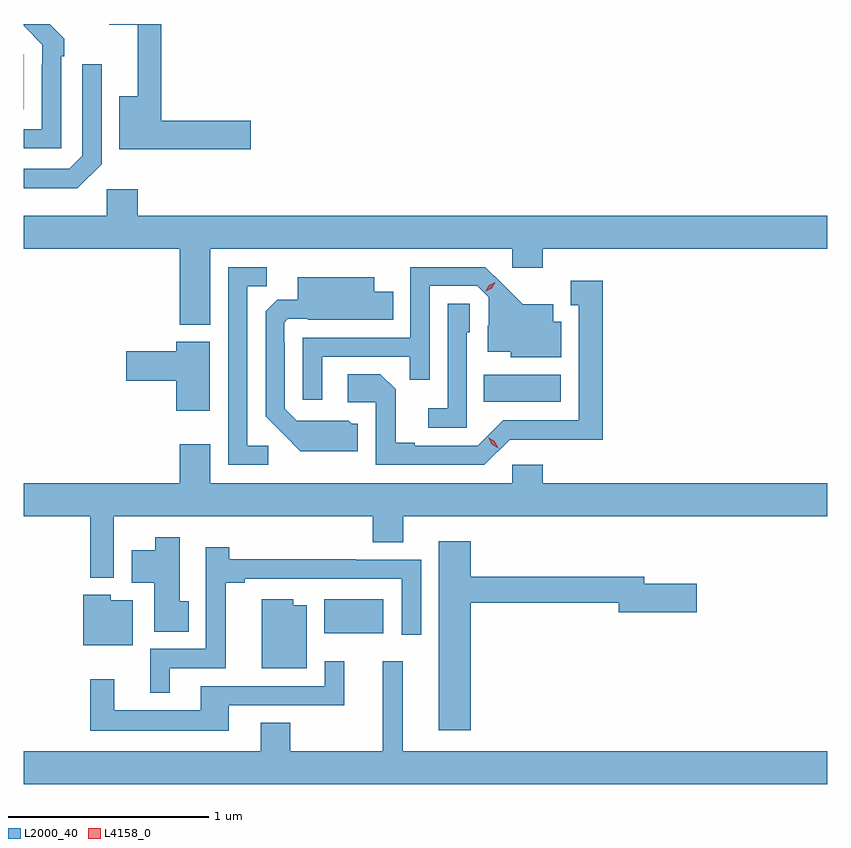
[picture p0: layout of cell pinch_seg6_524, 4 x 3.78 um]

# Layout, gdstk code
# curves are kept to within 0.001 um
import gdstk
lib = gdstk.Library(unit=1e-6, precision=1e-09)
def R(c, l, rs):  # rectangles x0, y0, x1, y1
    for r in rs: c.add(gdstk.rectangle(r[:2], r[2:], *l))
def P(c, l, *ps):  # polygons
    for p in ps: c.add(gdstk.Polygon(p, *l))
L2000_40 = (2000, 40)
L4158_0 = (4158, 0)

pinch_seg6_524 = lib.new_cell('pinch_seg6_524')
R(pinch_seg6_524, L2000_40, [(782.372,949.418,782.665,949.588), (783.166,950.57,783.547,950.704), (780.875,952.025,780.877,952.3)])
P(pinch_seg6_524, L2000_40, [(782.005,951.968),(781.559,951.968),(781.559,952.45),(781.302,952.45),(781.302,952.446),(781.442,952.446),(781.442,952.09),(781.352,952.09),(781.352,951.826),(782.005,951.826)],
  [(781.062,952.289),(781.077,952.289),(781.077,952.377),(781.004,952.45),(780.875,952.45),(780.875,952.442),(780.969,952.347),(780.969,952.247),(780.966,952.247),(780.966,951.927),(780.875,951.927),(780.875,951.831),(781.062,951.831)],
  [(781.263,951.753),(781.263,952.249),(781.167,952.249),(781.167,951.795),(781.101,951.729),(780.875,951.729),(780.875,951.632),(781.142,951.632)],
  [(781.804,951.332),(783.306,951.332),(783.306,951.237),(783.458,951.237),(783.458,951.332),(784.875,951.332),(784.875,951.496),(781.442,951.496),(781.442,951.628),(781.29,951.628),(781.29,951.496),(780.875,951.496),(780.875,951.332),(781.652,951.332),(781.652,950.954),(781.804,950.954)],
  [(782.092,950.352),(781.989,950.352),(781.989,951.145),(782.085,951.145),(782.085,951.24),(781.893,951.24),(781.893,950.256),(782.092,950.256)],
  [(782.361,950.793),(782.797,950.793),(782.797,950.68),(782.895,950.68),(782.895,951.147),(783.132,951.147),(783.189,951.09),(783.189,950.948),(783.185,950.948),(783.185,950.819),(783.3,950.819),(783.3,950.792),(783.55,950.792),(783.55,950.968),(783.511,950.968),(783.511,951.055),(783.359,951.055),(783.172,951.24),(782.799,951.24),(782.799,950.889),(782.265,950.889),(782.265,950.58),(782.361,950.58)],
  [(782.539,950.46),(782.508,950.46),(782.492,950.476),(782.235,950.475),(782.175,950.535),(782.175,950.864),(782.172,950.864),(782.172,950.964),(782.19,950.982),(782.29,950.982),(782.29,950.978),(782.714,950.978),(782.714,951.118),(782.62,951.118),(782.62,951.19),(782.24,951.19),(782.24,951.079),(782.138,951.079),(782.079,951.02),(782.079,950.498),(782.251,950.324),(782.539,950.324)],
  [(783.294,950.382),(783.757,950.381),(783.757,951.172),(783.599,951.172),(783.599,951.051),(783.638,951.051),(783.638,950.478),(783.261,950.478),(783.135,950.352),(782.821,950.352),(782.821,950.365),(782.727,950.365),(782.727,950.632),(782.651,950.708),(782.487,950.708),(782.487,950.568),(782.628,950.568),(782.628,950.256),(783.168,950.256)],
  [(783.081,950.916),(783.096,950.916),(783.096,951.059),(782.985,951.059),(782.985,950.539),(782.889,950.539),(782.889,950.442),(783.081,950.442)],
  [(781.801,950.869),(781.634,950.869),(781.634,950.822),(781.386,950.822),(781.386,950.675),(781.634,950.675),(781.634,950.526),(781.801,950.526)],
  [(781.323,950),(782.612,950),(782.612,949.87),(782.764,949.87),(782.764,950),(784.875,950),(784.875,950.164),(783.458,950.164),(783.458,950.257),(783.306,950.257),(783.306,950.164),(781.804,950.164),(781.804,950.359),(781.652,950.359),(781.652,950.164),(780.875,950.164),(780.875,950),(781.207,950),(781.207,949.694),(781.323,949.694)],
  [(781.697,949.578),(781.651,949.578),(781.651,949.897),(781.529,949.897),(781.529,949.831),(781.412,949.831),(781.412,949.67),(781.526,949.67),(781.526,949.426),(781.697,949.426)],
  [(783.101,949.57),(783.836,949.57),(783.836,949.523),(784.225,949.523),(784.225,949.665),(783.964,949.665),(783.964,949.699),(783.101,949.699),(783.101,949.876),(782.942,949.876),(782.942,948.936),(783.101,948.936)],
  [(781.603,949.245),(781.88,949.245),(781.88,949.669),(781.975,949.669),(781.975,949.689),(782.757,949.689),(782.757,949.41),(782.853,949.41),(782.853,949.785),(782.528,949.785),(782.528,949.787),(781.898,949.787),(781.898,949.846),(781.782,949.846),(781.782,949.341),(781.505,949.341),(781.505,949.121),(781.603,949.121)],
  [(781.417,949.582),(781.308,949.582),(781.308,949.609),(781.172,949.609),(781.172,949.358),(781.417,949.358)],
  [(782.284,949.558),(782.218,949.558),(782.218,949.588),(782.06,949.588),(782.06,949.244),(782.284,949.244)],
  [(781.897,949.059),(782.471,949.059),(782.471,949.279),(782.373,949.279),(782.373,949.155),(781.757,949.155),(781.757,949.036),(781.327,949.036),(781.327,949.189),(781.206,949.189),(781.206,948.932),(781.897,948.932)],
  [(784.875,948.832),(782.762,948.832),(782.762,949.279),(782.663,949.279),(782.663,948.832),(782.202,948.832),(782.202,948.974),(782.054,948.974),(782.054,948.832),(780.875,948.832),(780.875,948.668),(784.875,948.668)])
P(pinch_seg6_524, L4158_0, [(783.237,950.34),(783.205,950.359),(783.189,950.392),(783.189,950.392),(783.189,950.392),(783.22,950.373),(783.237,950.34),(783.237,950.34)],
  [(783.174,951.121),(783.174,951.122),(783.191,951.151),(783.222,951.166),(783.222,951.166),(783.222,951.166),(783.205,951.136),(783.174,951.121)])

lib.write_gds('pinch_seg6_524.gds')
